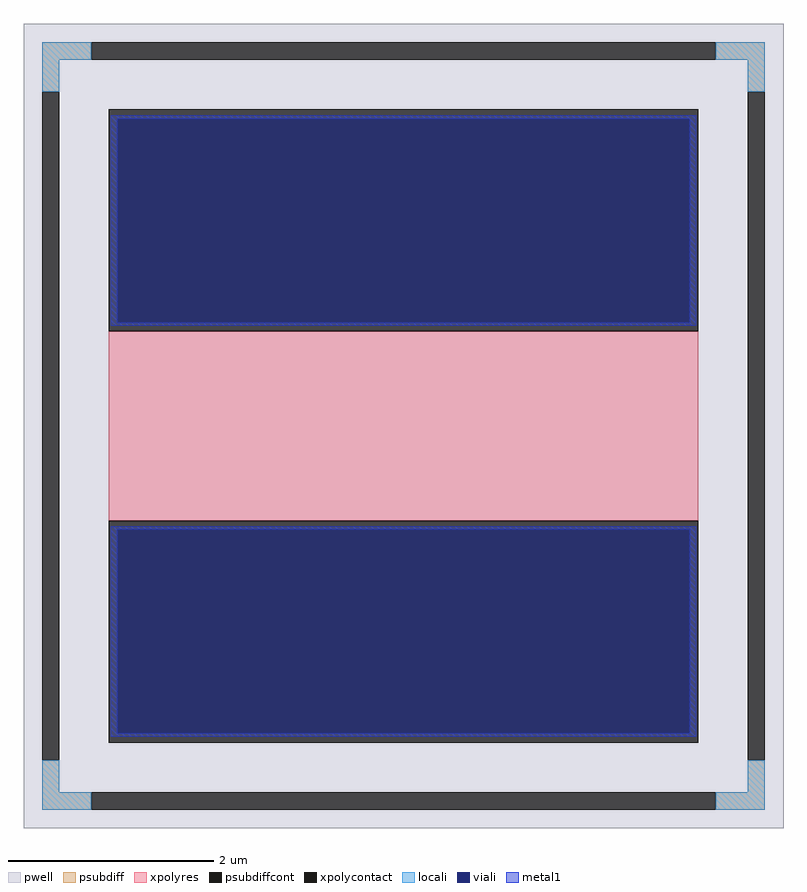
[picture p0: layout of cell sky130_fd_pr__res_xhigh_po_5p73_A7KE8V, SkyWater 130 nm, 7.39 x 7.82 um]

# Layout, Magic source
magic
tech sky130A
magscale 1 2
<< pwell >>
rect -739 -782 739 782
<< psubdiff >>
rect -703 712 -607 746
rect 607 712 703 746
rect -703 650 -669 712
rect 669 650 703 712
rect -703 -712 -669 -650
rect 669 -712 703 -650
rect -703 -746 -607 -712
rect 607 -746 703 -712
<< psubdiffcont >>
rect -607 712 607 746
rect -703 -650 -669 650
rect 669 -650 703 650
rect -607 -746 607 -712
<< xpolycontact >>
rect -573 184 573 616
rect -573 -616 573 -184
<< xpolyres >>
rect -573 -184 573 184
<< locali >>
rect -703 712 -607 746
rect 607 712 703 746
rect -703 650 -669 712
rect 669 650 703 712
rect -703 -712 -669 -650
rect 669 -712 703 -650
rect -703 -746 -607 -712
rect 607 -746 703 -712
<< viali >>
rect -557 201 557 598
rect -557 -598 557 -201
<< metal1 >>
rect -569 598 569 604
rect -569 201 -557 598
rect 557 201 569 598
rect -569 195 569 201
rect -569 -201 569 -195
rect -569 -598 -557 -201
rect 557 -598 569 -201
rect -569 -604 569 -598
<< properties >>
string FIXED_BBOX -686 -729 686 729
string gencell sky130_fd_pr__res_xhigh_po_5p73
string library sky130
string parameters w 5.730 l 2 m 1 nx 1 wmin 5.730 lmin 0.50 rho 2000 val 763.769 dummy 0 dw 0.0 term 188.2 sterm 0.0 caplen 0 wmax 5.730 guard 1 glc 1 grc 1 gtc 1 gbc 1 compatible {sky130_fd_pr__res_xhigh_po_0p35  sky130_fd_pr__res_xhigh_po_0p69 sky130_fd_pr__res_xhigh_po_1p41  sky130_fd_pr__res_xhigh_po_2p85 sky130_fd_pr__res_xhigh_po_5p73} snake 0 full_metal 1 n_guard 0 hv_guard 0 vias 1 viagb 0 viagt 0 viagl 0 viagr 0
<< end >>
